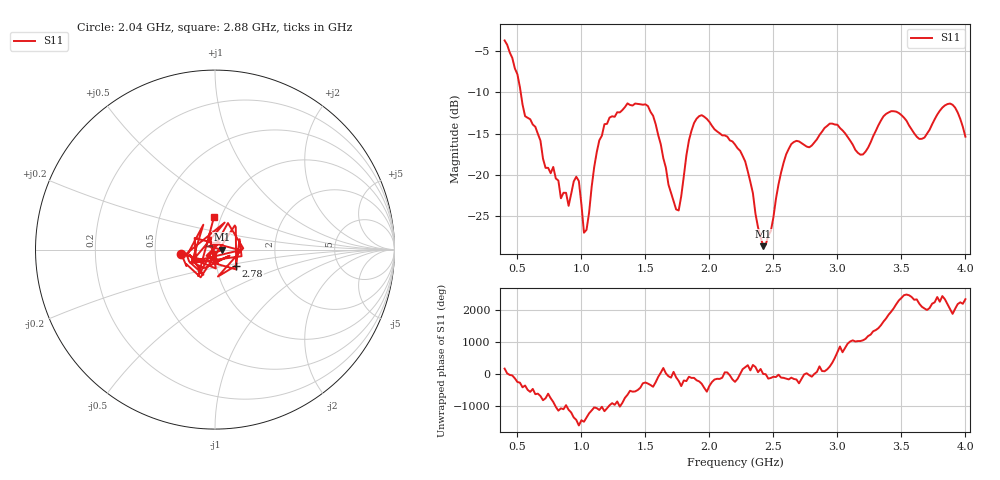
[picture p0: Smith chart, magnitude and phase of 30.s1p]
!Created with skrf (http://scikit-rf.org).
# Hz S RI R 50.0
!freq ReS11 ImS11
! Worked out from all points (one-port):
!   181 points, 400 MHz to 4 GHz, reference 50 ohm
!   lowest |S11| = -28.6 dB at 2.42 GHz (marker M1), VSWR 1.08, Z = 53.9 + j0.0301 ohm
!   |S11| at or under -10 dB: 525.8 MHz to end of sweep
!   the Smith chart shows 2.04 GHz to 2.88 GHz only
!   S11 on the Smith chart (normalised r, x): 2.04 GHz: 0.68, -0.03; 2.78 GHz: 1.24, -0.23; 2.88 GHz: 0.93, +0.35
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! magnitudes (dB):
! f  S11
! 400 MHz  -3.7
! 560 MHz  -12.9
! 860 MHz  -22.1
! 900 MHz  -23.7
! 960 MHz  -20.2
! 980 MHz  -20.7
! 1.02 GHz  -27.0
! 1.04 GHz  -26.6
! 1.14 GHz  -15.8
! 1.3 GHz  -12.4
! 1.52 GHz  -11.7
! 1.76 GHz  -24.3
! 1.88 GHz  -13.7
! 2.04 GHz  -14.5
! 2.2 GHz  -16.3
! 2.28 GHz  -18.4
! 2.42 GHz  -28.6
! 2.58 GHz  -18.5
! 2.66 GHz  -16.0
! 2.78 GHz  -16.6
! 2.88 GHz  -14.7
! 3.1 GHz  -15.8
! 3.2 GHz  -17.5
! 3.42 GHz  -12.3
! 3.56 GHz  -14.0
! 3.68 GHz  -15.5
! 3.88 GHz  -11.3
! 4 GHz  -15.3
